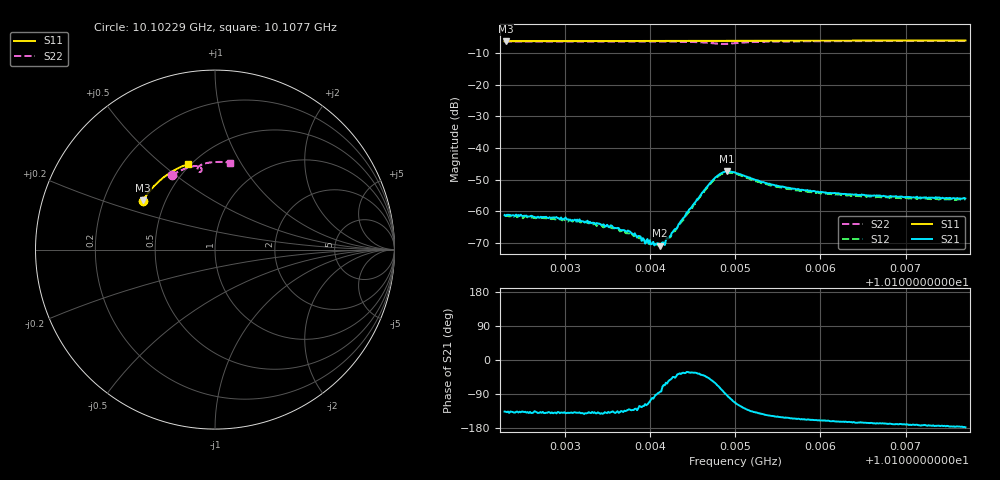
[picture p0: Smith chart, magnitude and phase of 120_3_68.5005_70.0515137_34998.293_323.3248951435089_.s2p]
#  HZ  S  RI  R  50.00
! Rohde & Schwarz Vector Network Analyzer
! Rohde-Schwarz,ZNB20-2Port,1311601062101988,3.16
! Created: UTC 3/20/2024, 5:09:05 PM
! freq[Hz]  re:S11  im:S11  re:S21  im:S21  re:S12  im:S12  re:S22  im:S22
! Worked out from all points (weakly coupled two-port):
!   401 points, 10.10229 GHz to 10.1077 GHz, reference 50 ohm
!   highest |S21| = -47.39 dB at 10.1049 GHz (marker M1); lowest = -70.9 dB at 10.10412 GHz (marker M2)
!   lowest |S11| = -6.3 dB at 10.1023 GHz (marker M3), VSWR 2.89, Z = 18.7 + j13.4 ohm
!   |S11| at or under -10 dB: nowhere
!   |S22| runs from -7.1 to -6.2 dB; largest |S21 - S12| = 0.00045
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1.0102289e10  -0.4019 0.273  -0.000627 -0.000603  -0.000567 -0.000633  -0.2403 0.4133
1.0102303e10  -0.4013 0.2736  -0.000611 -0.00058  -0.000556 -0.00064  -0.2394 0.4139
1.0102925e10  -0.3805 0.3052  -0.000575 -0.00052  -0.000528 -0.000556  -0.2041 0.4343
1.0103196e10  -0.3705 0.3185  -0.000531 -0.000445  -0.000472 -0.000486  -0.1878 0.4422
1.0103602e10  -0.355 0.3374  -0.0004 -0.000364  -0.000346 -0.000383  -0.1623 0.4529
1.0103764e10  -0.3484 0.3448  -0.000314 -0.000358  -0.000283 -0.000356  -0.1516 0.4569
1.0103886e10  -0.3433 0.3503  -0.000217 -0.000335  -0.00019 -0.000325  -0.1432 0.4595
1.0103927e10  -0.3416 0.3522  -0.000185 -0.000304  -0.000146 -0.000312  -0.1403 0.4603
1.0104008e10  -0.3382 0.3558  -7.67e-05 -0.000292  -7.18e-05 -0.000303  -0.1345 0.462
1.0104102e10  -0.3342 0.3597  1.98e-05 -0.000303  2.94e-05 -0.000279  -0.1273 0.4636
1.0104116e10  -0.3338 0.3604  3.1e-05 -0.000284  6.65e-05 -0.000285  -0.1263 0.4638
1.0104143e10  -0.3325 0.3616  0.000107 -0.000304  0.000105 -0.000296  -0.1241 0.4643
1.0104197e10  -0.3302 0.3638  0.000176 -0.000335  0.000198 -0.000282  -0.1198 0.465
1.0104725e10  -0.3067 0.3853  0.00177 -0.00244  0.00193 -0.00218  -0.0741 0.4465
1.010482e10  -0.3023 0.3891  0.00108 -0.00374  0.00138 -0.00348  -0.0784 0.4344
1.0104901e10  -0.2987 0.3922  -0.000209 -0.00427  0.00015 -0.00408  -0.0894 0.4325
1.0104996e10  -0.2943 0.3959  -0.00156 -0.00379  -0.00117 -0.0038  -0.0974 0.4416
1.0105429e10  -0.2735 0.412  -0.00223 -0.0014  -0.00201 -0.00155  -0.0728 0.4741
1.0105902e10  -0.2498 0.4281  -0.00191 -0.000776  -0.00176 -0.000916  -0.038 0.4838
1.0106335e10  -0.2274 0.4416  -0.00177 -0.000537  -0.00165 -0.000678  -0.00851 0.4873
1.0106809e10  -0.202 0.455  -0.00169 -0.000359  -0.00156 -0.000464  0.0232 0.4886
1.0107702e10  -0.1522 0.4759  -0.00159 -6.94e-05  -0.00151 -0.00026  0.0811 0.4846
